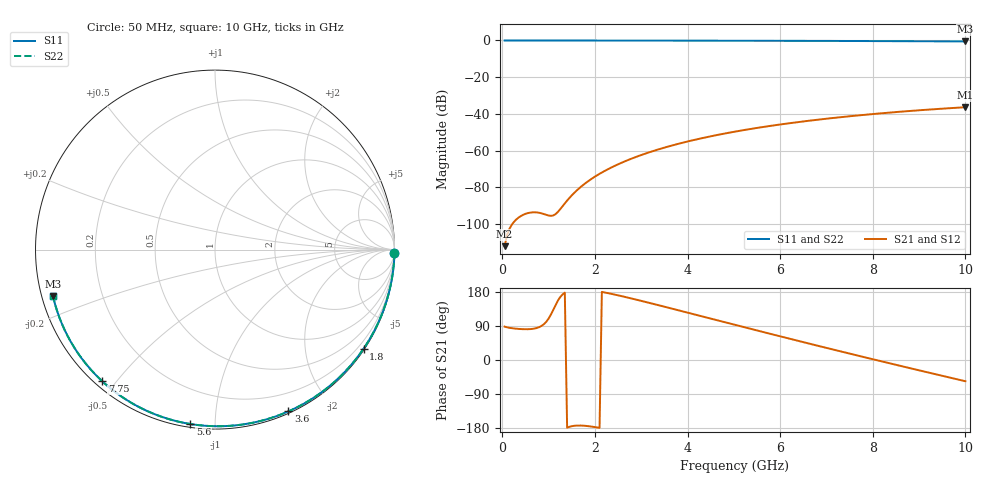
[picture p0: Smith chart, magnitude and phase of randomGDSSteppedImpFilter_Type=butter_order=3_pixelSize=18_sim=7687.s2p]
! freq	dB(S11)	phase(S11)	dB(S12)	phase(S12)
!  dB(S21)	phase(S21)	dB(S22)	phase(S22)
!S-par simulation data
#  GHz  S  DB  R 50
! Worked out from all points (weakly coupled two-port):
!   200 points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, 50 MHz to 10 GHz, reference 50 ohm
!   highest |S21| = -36.39 dB at 10 GHz (marker M1); lowest = -112.1 dB at 50 MHz (marker M2)
!   lowest |S11| = -0.5 dB at 10 GHz (marker M3), VSWR 31.81, Z = 1.6 - j7.01 ohm
!   |S11| at or under -10 dB: nowhere
!   |S22| runs from -0.5 to 0.0 dB; largest |S21 - S12| = 0
!   S11 on the Smith chart (normalised r, x): 50 MHz: open; 1.8 GHz: 0.03, -3.30; 3.6 GHz: 0.02, -1.55; 5.6 GHz: 0.02, -0.87; 7.75 GHz: 0.02, -0.46; 10 GHz: 0.03, -0.14
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0.05  -0.00 -1.0  -112.12 88.1  -112.12 88.1  -0.00 -1.0
0.45  -0.01 -8.6  -95.04 81.3  -95.04 81.3  -0.01 -8.6
0.85  -0.02 -16.1  -94.24 90.1  -94.24 90.1  -0.02 -16.1
1.65  -0.04 -31.0  -80.79 -172.9  -80.79 -172.9  -0.04 -31.0
1.7  -0.04 -31.9  -79.71 -173.0  -79.71 -173.0  -0.04 -31.9
1.75  -0.04 -32.8  -78.69 -173.3  -78.69 -173.3  -0.04 -32.8
1.8  -0.04 -33.7  -77.71 -173.8  -77.71 -173.8  -0.04 -33.7
2.1  -0.05 -39.2  -72.70 -179.1  -72.70 -179.1  -0.05 -39.2
2.3  -0.05 -42.8  -69.93 176.0  -69.93 176.0  -0.05 -42.8
2.5  -0.06 -46.4  -67.50 170.7  -67.50 170.7  -0.06 -46.4
2.9  -0.07 -53.5  -63.36 159.1  -63.36 159.1  -0.07 -53.5
3.4  -0.08 -62.2  -59.16 143.8  -59.16 143.8  -0.08 -62.2
3.6  -0.09 -65.6  -57.70 137.6  -57.70 137.6  -0.09 -65.6
4.3  -0.11 -77.3  -53.32 115.6  -53.32 115.6  -0.11 -77.3
5.05  -0.14 -89.4  -49.58 92.0  -49.58 92.0  -0.14 -89.4
5.6  -0.16 -98.1  -47.28 74.8  -47.28 74.8  -0.16 -98.1
6.15  -0.19 -106.6  -45.28 57.8  -45.28 57.8  -0.19 -106.6
6.7  -0.22 -114.9  -43.52 41.0  -43.52 41.0  -0.22 -114.9
7.75  -0.30 -130.5  -40.70 9.4  -40.70 9.4  -0.30 -130.5
8.35  -0.36 -139.4  -39.35 -8.3  -39.35 -8.3  -0.36 -139.4
9.2  -0.45 -151.9  -37.69 -33.1  -37.69 -33.1  -0.45 -151.9
10  -0.55 -164.0  -36.39 -56.1  -36.39 -56.1  -0.55 -164.0
